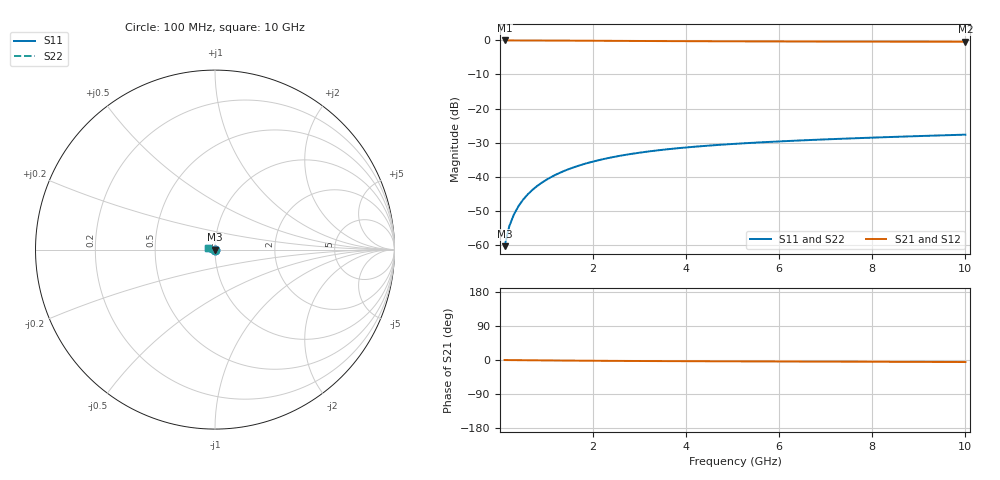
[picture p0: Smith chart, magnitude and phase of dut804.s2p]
! Touchstone file exported from HFSS 2024.1.0
!  File:  C:/UserFiles/LocalFiles/RDL_TSV_Batchsim/temp_TSV1_804_1779876849.aedt
!  Generated:  06:18:30 PM May 27, 2026
!  Design:  TSV1
!  Project:  temp_TSV1_804_1779876849
!  Setup:  Setup1
!  Solution:  Sweep
! Variables:
!  dtsv = 7.66um
!  hbump = 3um
!  htsv = 82.46um
!  lrdl = 252.1521522um
!  p = 40
!  p1 = 48.28um
!  t = 500um
!  trdl = 3um
!  wrdl = 24.89489489um
# GHz S MA R 50.000000
! Terminal data exported
! Port[1] = TSV22_T1
! Port[2] = TSV22_T2
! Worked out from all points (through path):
!   100 points, 100 MHz to 10 GHz, reference 50 ohm
!   highest |S21| = 0.00 dB at 100 MHz (marker M1); lowest = -0.4 dB at 10 GHz (marker M2)
!   lowest |S11| = -60.5 dB at 100 MHz (marker M3), VSWR 1.00, Z = 50 - j0.0923 ohm
!   |S11| at or under -10 dB: start of sweep to end of sweep
!   |S22| runs from -60.5 to -27.7 dB; largest |S21 - S12| = 5.2e-15
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0.1  0.0009485 -76.6  0.9997 -0.1  0.9997 -0.1  0.0009485 -76.6
! Gamma 0 0 0 0
! Port Impedance 50 0 50 0
0.2  0.001861 -85.9  0.9996 -0.2  0.9996 -0.2  0.001861 -85.9
0.3  0.002778 -90.4  0.9994 -0.3  0.9994 -0.3  0.002778 -90.4
0.4  0.003693 -93.6  0.9992 -0.5  0.9992 -0.5  0.003693 -93.6
0.5  0.004601 -96.2  0.9989 -0.6  0.9989 -0.6  0.004601 -96.2
0.6  0.005501 -98.6  0.9986 -0.7  0.9986 -0.7  0.005501 -98.6
0.7  0.006391 -100.9  0.9982 -0.8  0.9982 -0.8  0.006391 -100.9
0.8  0.007271 -103.0  0.9978 -0.9  0.9978 -0.9  0.007271 -103.0
0.9  0.008138 -105.0  0.9973 -1.0  0.9973 -1.0  0.008138 -105.0
1.1  0.009829 -108.9  0.9962 -1.2  0.9962 -1.2  0.009829 -108.9
1.4  0.01225 -114.5  0.9943 -1.5  0.9943 -1.5  0.01225 -114.5
1.6  0.01377 -118.0  0.9929 -1.7  0.9929 -1.7  0.01377 -118.0
1.8  0.01523 -121.4  0.9914 -1.8  0.9914 -1.8  0.01523 -121.4
2.1  0.01726 -126.3  0.9891 -2.1  0.9891 -2.1  0.01726 -126.3
2.5  0.01973 -132.4  0.986 -2.3  0.986 -2.3  0.01973 -132.4
2.9  0.02191 -138.0  0.983 -2.6  0.983 -2.6  0.02191 -138.0
3.4  0.02431 -144.5  0.9794 -2.9  0.9794 -2.9  0.02431 -144.5
4.2  0.0275 -153.6  0.9744 -3.2  0.9744 -3.2  0.0275 -153.6
5.1  0.0304 -162.6  0.9698 -3.6  0.9698 -3.6  0.0304 -162.6
6.7  0.0345 -175.6  0.9638 -4.2  0.9638 -4.2  0.0345 -175.6
8.4  0.03814 173.2  0.9596 -4.8  0.9596 -4.8  0.03814 173.2
10  0.04129 164.5  0.9568 -5.3  0.9568 -5.3  0.04129 164.5
